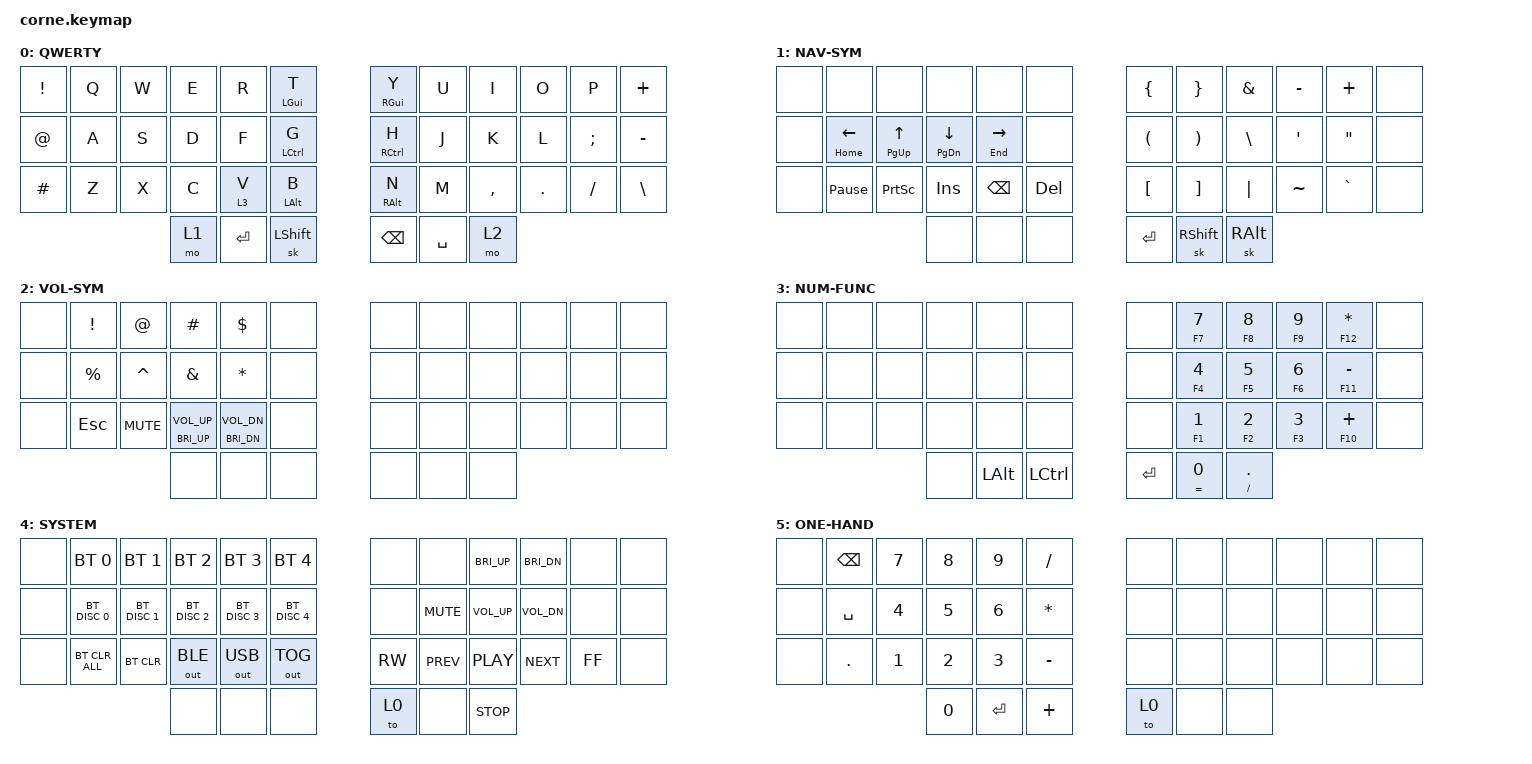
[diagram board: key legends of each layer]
/*
 * Copyright (c) 2020 The ZMK Contributors
 *
 * SPDX-License-Identifier: MIT
 */

#include <behaviors.dtsi>
#include <dt-bindings/zmk/bt.h>
#include <dt-bindings/zmk/keys.h>
#include <dt-bindings/zmk/outputs.h>

#define L_KEYS 0 1 2 3 4 5 12 13 14 15 16 17 24 25 26 27 28 29
#define R_KEYS 6 7 8 9 10 11 18 19 20 21 22 23 30 31 32 33 34 35
#define THUMBS 36 37 38 39 40 41


&caps_word {

    continue-list = <UNDERSCORE MINUS>;
};

&mt {
    tapping-term-ms = <500>;
    flavor = "balanced";
    require-prior-idle-ms = <125>;
};

/ {
    macros {
        zed_em_kay: zed_em_kay {
            compatible = "zmk,behavior-macro";
            #binding-cells = <0>;
            bindings
                = <&macro_press &kp LSHFT>
                , <&macro_tap &kp Z &kp M &kp K>
                , <&macro_release &kp LSHFT>
                ;
        };


        dotcom: dotcom {
            compatible = "zmk,behavior-macro";
            #binding-cells = <0>;
            bindings
                = <&macro_tap &kp DOT &kp C &kp O &kp M>
                ;
        };

/*       
        // Left Home Row Mod Macro
        lhm: lhm {
            compatible = "zmk,behavior-macro";
            flavor = "balanced";
            tapping-term-ms = <280>;
            require-prior-idle-ms = <150>;
            hold-trigger-key-positions = <R_KEYS THUMBS>;
            hold-trigger-on-release;
            bindings = <&kp>, <&kp>;
        };
        
        
        // Right Home Row Mod Macro
        rhm: rhm {
            compatible = "zmk,behavior-macro";
            flavor = "balanced";
            tapping-term-ms = <280>;
            require-prior-idle-ms = <150>;
            hold-trigger-key-positions = <L_KEYS THUMBS>;
            hold-trigger-on-release;
            bindings = <&kp>, <&kp>;
        };
*/
 
    };
};
    
    
    
/ {

    combos {
        compatible = "zmk,combos";

        combo_tab {
            timeout-ms = <50>;
            require-prior-idle-ms = <150>;
            bindings = <&kp TAB>;
            key-positions = <1 2>;
            layers = <0 5>;
        };
        
        combo_copy {
            timeout-ms = <50>;
            require-prior-idle-ms = <150>;
            bindings = <&kp LC(C)>;
            key-positions = <26 27>;
            layers = <0 5>;
        };

        combo_paste {
            timeout-ms = <50>;
            require-prior-idle-ms = <150>;
            bindings = <&kp LC(V)>;
            key-positions = <27 28>;
            layers = <0 5>;
        };

        combo_cut {
            timeout-ms = <50>;
            require-prior-idle-ms = <150>;
            bindings = <&kp LC(X)>;
            key-positions = <26 28>;
            layers = <0 5>;
        };


        combo_sys_layer {
            timeout-ms = <50>;
            require-prior-idle-ms = <150>;
            bindings = <&to 4>;
            key-positions = <36 41>;
            layers = <0>;
        };
        
        
        combo_1hand_layer {
            timeout-ms = <50>;
            require-prior-idle-ms = <150>;
            bindings = <&to 5>;
            key-positions = <28 29>;
            layers = <0>;
        };
        
        
        combo_caps_word {
            timeout-ms = <50>;
            require-prior-idle-ms = <150>;
            bindings = <&caps_word>;
            key-positions = <25 26>;
            layers = <0>;
        };
        
        combo_dotcom {
            timeout-ms = <50>;
            require-prior-idle-ms = <150>;
            bindings = <&dotcom>;
            key-positions = <33 34>;
            layers = <0>;
        };
        
        combo_CTRL_ALT_DEL {
            timeout-ms = <50>;
            require-prior-idle-ms = <150>;
            bindings = <&kp LC(LA(DEL))>;
            key-positions = <39 40 41>;
            layers = <0>;
        };
        
        combo_LOCK_SCREEN{
            timeout-ms = <50>;
            require-prior-idle-ms = <150>;
            bindings = <&kp LG(L)>;
            key-positions = <36 37 38>;
            layers = <0>;
        };
        
        combo_LBRACKET{
            timeout-ms = <50>;
            require-prior-idle-ms = <150>;
            bindings = <&kp LBKT>;
            key-positions = <19 20>;
            layers = <0>;
        };
        
        combo_RBRACKET{
            timeout-ms = <50>;
            require-prior-idle-ms = <150>;
            bindings = <&kp RBKT>;
            key-positions = <20 21>;
            layers = <0>;
        };
        
        combo_LPAR{
            timeout-ms = <50>;
            require-prior-idle-ms = <150>;
            bindings = <&kp LPAR>;
            key-positions = <31 32>;
            layers = <0>;
        };
        
        combo_RPAR{
            timeout-ms = <50>;
            require-prior-idle-ms = <150>;
            bindings = <&kp RPAR>;
            key-positions = <32 33>;
            layers = <0>;
        };
        
        combo_BSLH{
            timeout-ms = <50>;
            require-prior-idle-ms = <150>;
            bindings = <&kp BSLH>;
            key-positions = <7 8>;
            layers = <0>;
        };
        
        combo_FSLH{
            timeout-ms = <50>;
            require-prior-idle-ms = <150>;
            bindings = <&kp FSLH>;
            key-positions = <8 9>;
            layers = <0>;
        };
        
        combo_AT{
            timeout-ms = <50>;
            require-prior-idle-ms = <150>;
            bindings = <&kp AT>;
            key-positions = <2 3>;
            layers = <0>;
        };
        
        combo_HASH{
            timeout-ms = <50>;
            require-prior-idle-ms = <150>;
            bindings = <&kp HASH>;
            key-positions = <3 4>;
            layers = <0>;
        };
        
        combo_AMPS{
            timeout-ms = <50>;
            require-prior-idle-ms = <150>;
            bindings = <&kp AMPS>;
            key-positions = <14 15>;
            layers = <0>;
        };
        
        combo_EXCL{
            timeout-ms = <50>;
            require-prior-idle-ms = <150>;
            bindings = <&kp EXCL>;
            key-positions = <13 14>;
            layers = <0>;
        };
        
        combo_DASH{
            timeout-ms = <50>;
            require-prior-idle-ms = <150>;
            bindings = <&kp MINUS>;
            key-positions = <9 10>;
            layers = <0>;
        };
        
        combo_SQT{
            timeout-ms = <50>;
            require-prior-idle-ms = <150>;
            bindings = <&kp SQT>;
            key-positions = <21 22>;
            layers = <0>;
        };
        
        combo_numPLUS{
            timeout-ms = <50>;
            require-prior-idle-ms = <150>;
            bindings = <&kp PLUS>;
            key-positions = <19 20>;
            layers = <3>;
        };
        
        combo_numMINUS{
            timeout-ms = <50>;
            require-prior-idle-ms = <150>;
            bindings = <&kp MINUS>;
            key-positions = <21 22>;
            layers = <3>;
        };
        
        combo_numDIV{
            timeout-ms = <50>;
            require-prior-idle-ms = <150>;
            bindings = <&kp FSLH>;
            key-positions = <7 8>;
            layers = <3>;
        };
        
        combo_numSTAR{
            timeout-ms = <50>;
            require-prior-idle-ms = <150>;
            bindings = <&kp STAR>;
            key-positions = <9 10>;
            layers = <3>;
        };
        
    };
    
    
    
    
    behaviors {
        ht_tp: ht_tp {
            compatible = "zmk,behavior-hold-tap";
            #binding-cells = <2>;
            tapping-term-ms = <150>;
            quick-tap-ms = <0>;
            flavor = "tap-preferred";
            bindings = <&kp>, <&kp>;
        };
        
        
    };
    

    keymap {
        compatible = "zmk,keymap";

        default_layer {
        
            display-name = "QWERTY";
            
            // -----------------------------------------------------------------------------------------
            // |   !  |  Q  |  W  |  E  |  R  |  T  |   |  Y  |  U   |  I  |  O  |  P  |  +   |
            // | CTRL |  A  |  S  |  D  |  F  |  G  |   |  H  |  J   |  K  |  L  |  ;  |  -   |
            // | SHFT |  Z  |  X  |  C  |  V  |  B  |   |  N  |  M   |  ,  |  .  |  /  |  \   |
            //                | left | RET | LSHIFT |   | BSPC | SPACE  | right |

            bindings = <

&kp EXCL   &kp Q   &kp W       &kp E        &kp R         &mt LGUI T       &mt RGUI Y      &kp U     &kp I        &kp O        &kp P      &kp PLUS

&kp AT     &kp A   &kp S       &kp D        &kp F         &mt LCTRL G      &mt RCTRL H     &kp J     &kp K        &kp L        &kp SEMI   &kp MINUS

&kp HASH   &kp Z   &kp X       &kp C        &lt 3 V       &mt LALT B       &mt RALT N      &kp M     &kp COMMA    &kp DOT      &kp FSLH   &kp BSLH

                               &mo 1        &kp RET       &sk LSHFT        &kp BSPC   &kp SPACE      &mo 2
            >;
        };
        
        
       

        left_layer {
        
            display-name = "NAV-SYM";
        
            // -----------------------------------------------------------------------------------------
            // |  TAB |  !  |  @  |  #  |  $  |  %  |   |  ^  |  &  |  *  |  (  |  )  | BSPC |
            // | CTRL |     |     |     |     |     |   |  -  |  =  |  [  |  ]  |  \  |  `   |
            // | SHFT |     |     |     |     |     |   |  _  |  +  |  {  |  }  | "|" |  ~   |
            //                    | GUI |     | SPC |   | ENT |     | ALT |

            bindings = <

&none  &none             &none            &none              &none             &none            &kp LBRC   &kp RBRC    &kp AMPS   &kp MINUS   &kp PLUS   &none

&none  &ht_tp HOME LEFT  &ht_tp PG_UP UP  &ht_tp PG_DN DOWN  &ht_tp END RIGHT  &none            &kp LPAR   &kp RPAR    &kp BSLH   &kp SQT     &kp DQT    &none

&none  &kp PAUSE_BREAK   &kp PSCRN        &kp INS            &kp BSPC          &kp DEL          &kp LBKT   &kp RBKT    &kp PIPE   &kp TILDE   &kp GRAVE  &none
                             
                                          &none              &none             &none            &kp RET    &sk RSHFT   &sk RALT
            >;
        };
        
        
        
        right_layer {
        
            display-name = "VOL-SYM";
        
            // -----------------------------------------------------------------------------------------
            // |  TAB |  !  |  @  |  #  |  $  |  %  |   |  ^  |  &  |  *  |  (  |  )  | BSPC |
            // | CTRL |     |     |     |     |     |   |  -  |  =  |  [  |  ]  |  \  |  `   |
            // | SHFT |     |     |     |     |     |   |  _  |  +  |  {  |  }  | "|" |  ~   |
            //                    | GUI |     | SPC |   | ENT |     | ALT |

            bindings = <

&none    &kp EXCL    &kp AT      &kp HASH                   &kp DLLR                   &none           &none    &none    &none    &none    &none    &none 

&none    &kp PRCNT   &kp CARET   &kp AMPS                   &kp ASTRK                  &none           &none    &none    &none    &none    &none    &none 

&none    &kp ESC     &kp C_MUTE  &ht_tp C_BRI_UP C_VOL_UP   &ht_tp C_BRI_DN C_VOL_DN   &none           &none    &none    &none    &none    &none    &none 
                             
                                 &none                      &none                      &none           &none    &none    &none
            >;
        };
        
       
        num_layer {
        
            display-name = "NUM-FUNC";        
        
            // -----------------------------------------------------------------------------------------
            // |  TAB |  !  |  @  |  #  |  $  |  %  |   |  ^  |  &  |  *  |  (  |  )  | BSPC |
            // | CTRL |     |     |     |     |     |   |  -  |  =  |  [  |  ]  |  \  |  `   |
            // | SHFT |     |     |     |     |     |   |  _  |  +  |  {  |  }  | "|" |  ~   |
            //                    | GUI |     | SPC |   | ENT |     | ALT |

            bindings = <

&none   &none   &none   &none   &none      &none           &none    &ht_tp F7 N7      &ht_tp F8 N8    &ht_tp F9 N9    &ht_tp F12 STAR   &none 

&none   &none   &none   &none   &none      &none           &none    &ht_tp F4 N4      &ht_tp F5 N5    &ht_tp F6 N6    &ht_tp F11 MINUS   &none 

&none   &none   &none   &none   &none      &none           &none    &ht_tp F1 N1      &ht_tp F2 N2    &ht_tp F3 N3    &ht_tp F10 PLUS  &none 
                             
                        &none   &kp LALT   &kp LCTRL       &kp RET  &ht_tp EQUAL N0   &ht_tp FSLH DOT
            >;
        };
        
         
        sys_layer {
        
            display-name = "SYSTEM";        
        
            // ---------------------------------------------------------------------------------------------------
            // |  TAB |  !  |  @  |  #  |  $  |  %  |   |             |      |   BRI UP   | BRI DN |      |      |
            // | CTRL |     |     |     |     |     |   |             | MUTE |   VOL UP   | VOL DN |      |      |
            // | SHFT |     |     |     |     |     |   |     RW      | PREV | PLAY/PAUSE |  NEXT  |  FF  |      |
            //                    | GUI |     | SPC |   | Tog Default |      |    STOP    |

            bindings = <


&none   &bt BT_SEL 0     &bt BT_SEL 1    &bt BT_SEL 2    &bt BT_SEL 3    &bt BT_SEL 4         &none      &none         &kp C_BRI_UP    &kp C_BRI_DN    &none      &none

&none   &bt BT_DISC 0    &bt BT_DISC 1   &bt BT_DISC 2   &bt BT_DISC 3   &bt BT_DISC 4        &none      &kp C_MUTE    &kp C_VOL_UP    &kp C_VOL_DN    &none      &none
  
&none   &bt BT_CLR_ALL   &bt BT_CLR      &out OUT_BLE    &out OUT_USB    &out OUT_TOG         &kp C_RW   &kp C_PREV    &kp C_PLAY      &kp C_NEXT      &kp C_FF   &none

                                         &none           &none           &none                &to 0      &none         &kp C_STOP

            
            >;
        };
        
       
 
        onehand_layer {
        
            display-name = "ONE-HAND";        
        
            // -------------------------------------------------------------------------------------------------
            // |       | BSPC |  7  |  8  |  9  |  /  |   |             |      |        |        |      |      |
            // |       |      |  4  |  5  |  6  |  *  |   |             |      |        |        |      |      |
            // |       |  .   |  1  |  2  |  2  |  -  |   |             |      |        |        |      |      |
            //                      |  0  | ENT |  +  |   | Tog Default |      |        |

            bindings = <


            &none    &kp BSPC   &kp N7    &kp N8    &kp N9    &kp FSLH        &none    &none    &none    &none    &none    &none
             
            &none    &kp SPACE  &kp N4    &kp N5    &kp N6    &kp STAR        &none    &none    &none    &none    &none    &none
            
            &none    &kp DOT    &kp N1    &kp N2    &kp N3    &kp MINUS       &none    &none    &none    &none    &none    &none

                                          &kp N0    &kp RET   &kp PLUS        &to 0    &none    &none
     
            >;
 
        };
        

        
        
    };
};
